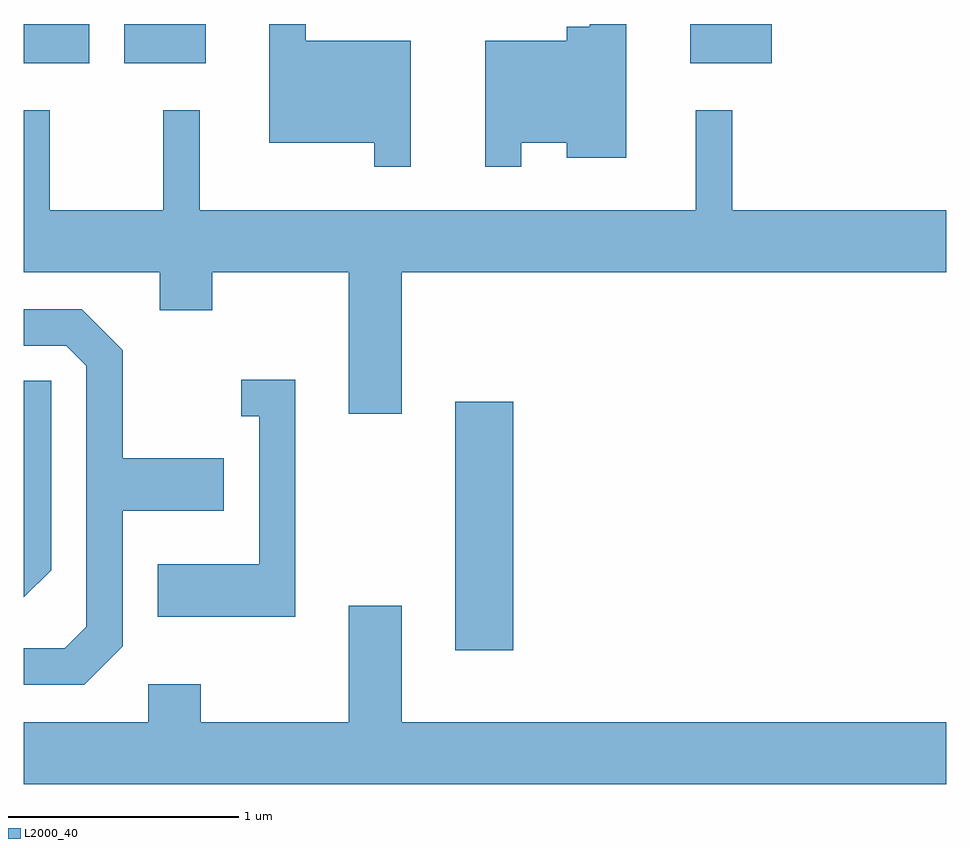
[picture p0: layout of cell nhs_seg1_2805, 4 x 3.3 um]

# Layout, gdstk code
import gdstk
lib = gdstk.Library(unit=1e-6, precision=1e-09)
def R(c, l, rs):  # rectangles x0, y0, x1, y1
    for r in rs: c.add(gdstk.rectangle(r[:2], r[2:], *l))
def P(c, l, *ps):  # polygons
    for p in ps: c.add(gdstk.Polygon(p, *l))
L2000_40 = (2000, 40)

nhs_seg1_2805 = lib.new_cell('nhs_seg1_2805')
R(nhs_seg1_2805, L2000_40, [(271.481,948.996,271.734,950.074), (269.611,951.541,269.894,951.712), (270.046,951.541,270.399,951.712), (272.501,951.541,272.854,951.712)])
P(nhs_seg1_2805, L2000_40, [(271.289,951.639),(270.834,951.639),(270.834,951.712),(270.676,951.712),(270.676,951.196),(271.131,951.196),(271.131,951.093),(271.289,951.093)],
  [(271.769,951.196),(271.966,951.196),(271.966,951.131),(272.224,951.131),(272.224,951.712),(272.066,951.712),(272.066,951.699),(271.966,951.699),(271.966,951.639),(271.611,951.639),(271.611,951.093),(271.769,951.093)],
  [(271.249,950.636),(273.611,950.636),(273.611,950.904),(272.684,950.904),(272.684,951.338),(272.526,951.338),(272.526,950.904),(270.374,950.904),(270.374,951.338),(270.216,951.338),(270.216,950.904),(269.724,950.904),(269.724,951.338),(269.611,951.338),(269.611,950.636),(270.201,950.636),(270.201,950.471),(270.429,950.471),(270.429,950.636),(271.021,950.636),(271.021,950.021),(271.249,950.021)],
  [(270.039,949.014),(270.039,949.601),(270.479,949.601),(270.479,949.829),(270.039,949.829),(270.039,950.297),(269.862,950.474),(269.611,950.474),(269.611,950.316),(269.794,950.316),(269.881,950.229),(269.881,949.097),(269.789,949.004),(269.611,949.004),(269.611,948.846),(269.872,948.846)],
  [(270.789,950.169),(270.553,950.169),(270.553,950.011),(270.631,950.011),(270.631,949.369),(270.191,949.369),(270.191,949.141),(270.789,949.141)],
  [(269.729,949.344),(269.729,950.164),(269.611,950.164),(269.611,949.225)],
  [(273.611,948.684),(271.249,948.684),(271.249,949.189),(271.021,949.189),(271.021,948.684),(270.379,948.684),(270.379,948.849),(270.151,948.849),(270.151,948.684),(269.611,948.684),(269.611,948.416),(273.611,948.416)])

lib.write_gds('nhs_seg1_2805.gds')
